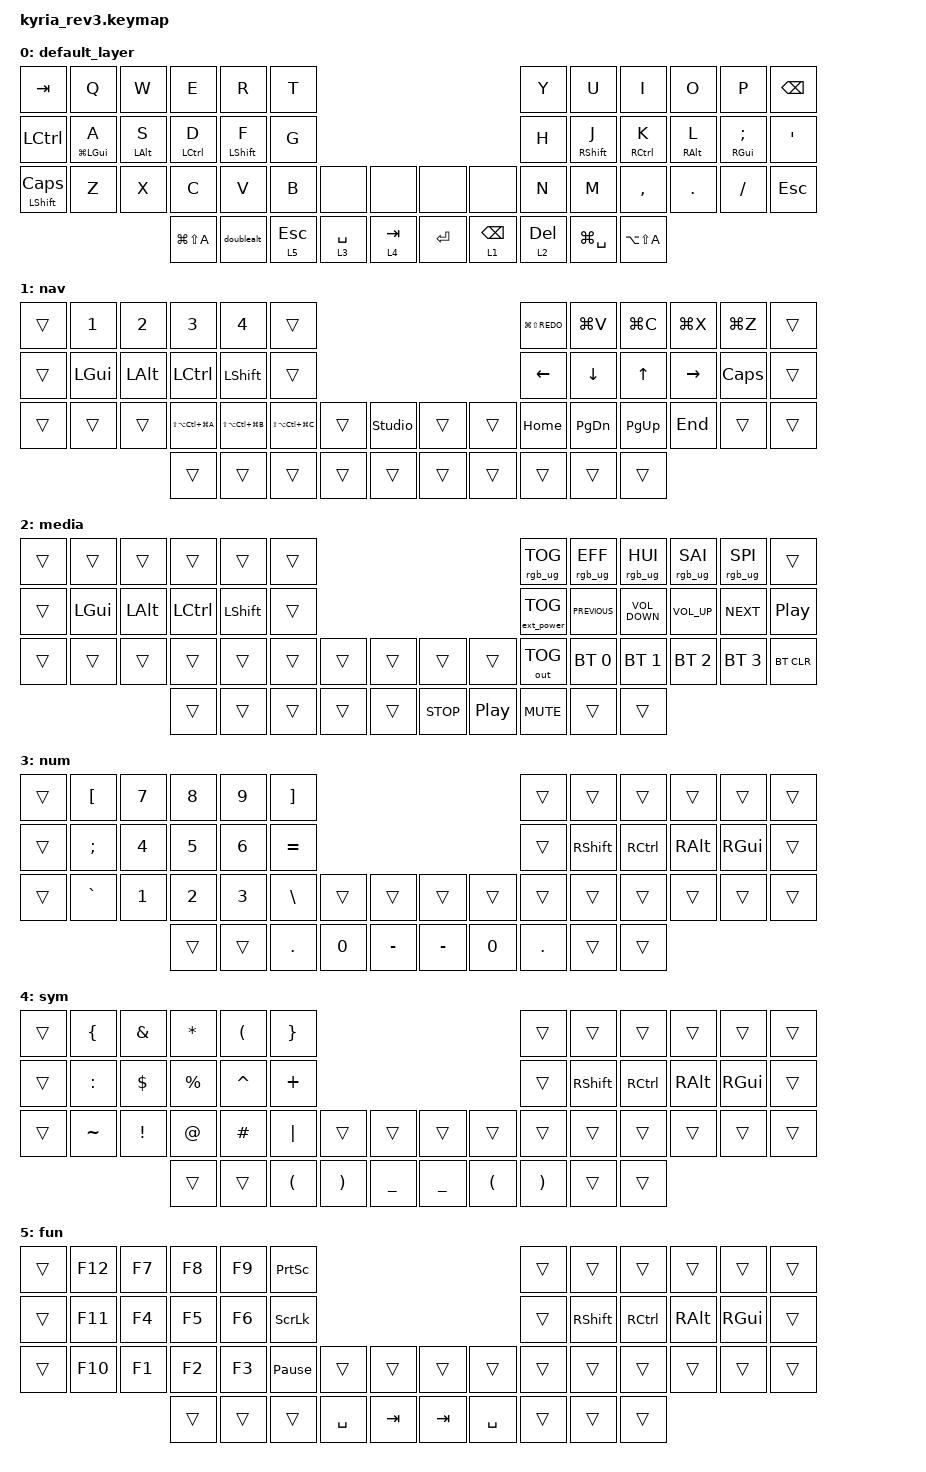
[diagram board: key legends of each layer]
/*
 * Copyright (c) 2023 The ZMK Contributors
 *
 * SPDX-License-Identifier: MIT
 */

#include <behaviors.dtsi>
#include <dt-bindings/zmk/bt.h>
#include <dt-bindings/zmk/ext_power.h>
#include <dt-bindings/zmk/keys.h>
#include <dt-bindings/zmk/outputs.h>
#include <dt-bindings/zmk/rgb.h>

/* Uncomment this block if using RGB */

&led_strip {
    // chain-length = <6>;

    chain-length = <31>; // Uncomment if using both per-key and underglow LEDs
    // chain-length = <25>; // Uncomment if using only per-key LEDs.
};

/ {
    combos {
        compatible = "zmk,combos";

        l-br {
            bindings = <&kp LEFT_BRACKET>;
            key-positions = <4 5>;
        };

        r-br {
            bindings = <&kp RIGHT_BRACKET>;
            key-positions = <6 7>;
        };

        l-par {
            bindings = <&kp LEFT_PARENTHESIS>;
            key-positions = <16 17>;
        };

        r-par {
            bindings = <&kp RIGHT_PARENTHESIS>;
            key-positions = <18 19>;
        };

        l-brace {
            bindings = <&kp LEFT_BRACE>;
            key-positions = <28 29>;
        };

        r-brace {
            bindings = <&none>;
            key-positions = <34 35>;
        };

        backspace {
            bindings = <&kp BACKSPACE>;
            key-positions = <18 19>;
        };

        rescape {
            bindings = <&gresc>;
            key-positions = <19 20>;
        };

        lescape {
            bindings = <&gresc>;
            key-positions = <16 15>;
        };
    };

    macros {
        doublealt: doublealt {
            compatible = "zmk,behavior-macro";
            #binding-cells = <0>;
            bindings = <&kp LALT &kp LALT>;
            label = "DOUBLEALT";
        };
    };

    keymap {
        compatible = "zmk,keymap";

        default_layer {
            // ---------------------------------------------------------------------------------------------------------------------------------
            // |  ESC  |  Q  |  W  |  E   |  R   |  T   |                                          |  Y   |  U    |  I    |  O   |   P   |   \  |
            // |  TAB  |  A  |  S  |  D   |  F   |  G   |                                          |  H   |  J    |  K    |  L   |   ;   |   '  |
            // | SHIFT |  Z  |  X  |  C   |  V   |  B   | L SHIFT | L SHIFT |  | LAYER 1 | L SHIFT |  N   |  M    |  ,    |  .   |   /   | CTRL |
            //                     | GUI  | DEL  | RET  |  SPACE  |   ESC   |  |   RET   |  SPACE  | TAB  | BSPC  | R-ALT |

            bindings = <
&kp TAB                  &kp Q           &kp W       &kp E          &kp R             &kp T                                                          &kp Y      &kp U          &kp I          &kp O       &kp P          &kp BACKSPACE
&kp LCTRL                &mt LG(LGUI) A  &mt LALT S  &mt LCTRL D    &mt LEFT_SHIFT F  &kp G                                                          &kp H      &mt RSHFT J    &mt RCTRL K    &mt RALT L  &mt RGUI SEMI  &kp SQT
&mt LEFT_SHIFT CAPSLOCK  &kp Z           &kp X       &kp C          &kp V             &kp B      &none        &none      &none      &none            &kp N      &kp M          &kp COMMA      &kp DOT     &kp FSLH       &kp ESCAPE
                                                     &kp LG(LS(A))  &doublealt        &lt 5 ESC  &lt 3 SPACE  &lt 4 TAB  &kp ENTER  &lt 1 BACKSPACE  &lt 2 DEL  &kp LG(SPACE)  &kp LA(LS(A))
            >;

            // sensor-bindings = <&inc_dec_kp C_VOL_UP C_VOL_DN &inc_dec_kp PG_UP PG_DN>;
        };

        nav {
            // ---------------------------------------------------------------------------------------------------------------------------------
            // |       |      |BT_CLR|BTSEL0|BTSEL1|BTSEL2|                                         |      |      |      |      |      |      |
            // |       |      |      |BTSEL3|BTSEL4|      |                                         |      |      |      |      |      |      |
            // |       |      |      |      |      |      |      |      |      |      |      |      |      |      |      |      |      |      |
            //                       |      |      |      |      |      |      |      |      |      |      |      |      |

            bindings = <
&trans  &kp N1        &kp N2    &kp N3                 &kp N4                 &trans                                                         &kp LG(LS(K_REDO))  &kp LG(V)      &kp LG(C)     &kp LG(X)  &kp LG(Z)  &trans
&trans  &kp LEFT_GUI  &kp LALT  &kp LCTRL              &kp LEFT_SHIFT         &trans                                                         &kp LEFT            &kp DOWN       &kp UP_ARROW  &kp RIGHT  &kp CLCK   &trans
&trans  &trans        &trans    &kp LS(LA(LC(LG(A))))  &kp LS(LA(LC(LG(B))))  &kp LS(LA(LC(LG(C))))  &trans  &studio_unlock  &trans  &trans  &kp HOME            &kp PAGE_DOWN  &kp PG_UP     &kp END    &trans     &trans
                                &trans                 &trans                 &trans                 &trans  &trans          &trans  &trans  &trans              &trans         &trans
            >;

            // sensor-bindings = <&inc_dec_kp C_VOL_UP C_VOL_DN &inc_dec_kp PG_UP PG_DN>;
        };

        media {
            bindings = <
&trans  &trans    &trans    &trans     &trans     &trans                                        &rgb_ug RGB_TOG    &rgb_ug RGB_EFF  &rgb_ug RGB_HUI    &rgb_ug RGB_SAI  &rgb_ug RGB_SPI  &trans
&trans  &kp LGUI  &kp LALT  &kp LCTRL  &kp LSHFT  &trans                                        &ext_power EP_TOG  &kp C_PREVIOUS   &kp K_VOLUME_DOWN  &kp K_VOL_UP     &kp C_NEXT       &kp C_PP
&trans  &trans    &trans    &trans     &trans     &trans  &trans  &trans  &trans      &trans    &out OUT_TOG       &bt BT_SEL 0     &bt BT_SEL 1       &bt BT_SEL 2     &bt BT_SEL 3     &bt BT_CLR
                            &trans     &trans     &trans  &trans  &trans  &kp C_STOP  &kp C_PP  &kp K_MUTE         &trans           &trans
            >;
        };

        num {
            bindings = <
&trans  &kp LBKT   &kp N7  &kp N8  &kp N9  &kp RBKT                                          &trans   &trans     &trans     &trans    &trans    &trans
&trans  &kp SEMI   &kp N4  &kp N5  &kp N6  &kp EQUAL                                         &trans   &kp RSHFT  &kp RCTRL  &kp RALT  &kp RGUI  &trans
&trans  &kp GRAVE  &kp N1  &kp N2  &kp N3  &kp BSLH    &trans  &trans     &trans     &trans  &trans   &trans     &trans     &trans    &trans    &trans
                           &trans  &trans  &kp PERIOD  &kp N0  &kp MINUS  &kp MINUS  &kp N0  &kp DOT  &trans     &trans
            >;
        };

        sym {
            bindings = <
&trans  &kp LEFT_BRACE  &kp AMPS    &kp ASTRK    &kp LPAR   &kp RBRC                                            &trans    &trans     &trans     &trans    &trans    &trans
&trans  &kp COLON       &kp DOLLAR  &kp PERCENT  &kp CARET  &kp PLUS                                            &trans    &kp RSHFT  &kp RCTRL  &kp RALT  &kp RGUI  &trans
&trans  &kp TILDE       &kp EXCL    &kp AT       &kp HASH   &kp PIPE  &trans    &trans     &trans     &trans    &trans    &trans     &trans     &trans    &trans    &trans
                                    &trans       &trans     &kp LPAR  &kp RPAR  &kp UNDER  &kp UNDER  &kp LPAR  &kp RPAR  &trans     &trans
            >;
        };

        fun {
            bindings = <
&trans  &kp F12  &kp F7  &kp F8  &kp F9  &kp PRINTSCREEN                                          &trans  &trans     &trans     &trans    &trans    &trans
&trans  &kp F11  &kp F4  &kp F5  &kp F6  &kp SCROLLLOCK                                           &trans  &kp RSHFT  &kp RCTRL  &kp RALT  &kp RGUI  &trans
&trans  &kp F10  &kp F1  &kp F2  &kp F3  &kp PAUSE_BREAK  &trans     &trans   &trans   &trans     &trans  &trans     &trans     &trans    &trans    &trans
                         &trans  &trans  &trans           &kp SPACE  &kp TAB  &kp TAB  &kp SPACE  &trans  &trans     &trans
            >;
        };
    };
};
